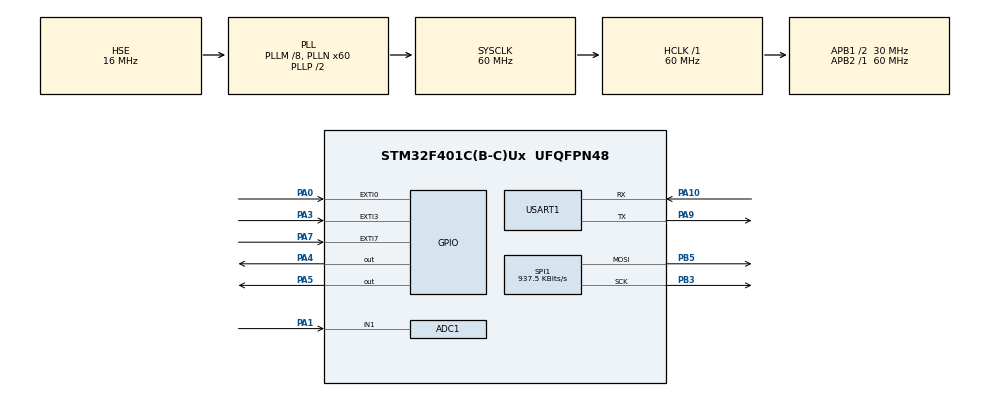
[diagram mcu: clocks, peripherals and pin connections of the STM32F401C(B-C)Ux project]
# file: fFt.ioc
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ADC1.Channel-3\#ChannelRegularConversion=ADC_CHANNEL_1
ADC1.ContinuousConvMode=DISABLE
ADC1.DMAContinuousRequests=ENABLE
ADC1.ExternalTrigConv=ADC_EXTERNALTRIGCONV_T2_TRGO
ADC1.ExternalTrigConvEdge=ADC_EXTERNALTRIGCONVEDGE_RISING
ADC1.NbrOfConversion=1
ADC1.NbrOfConversionFlag=1
ADC1.Rank-3\#ChannelRegularConversion=1
ADC1.SamplingTime-3\#ChannelRegularConversion=ADC_SAMPLETIME_3CYCLES
ADC1.master=1
Dma.ADC1.0.Direction=DMA_PERIPH_TO_MEMORY
Dma.ADC1.0.FIFOMode=DMA_FIFOMODE_DISABLE
Dma.ADC1.0.Instance=DMA2_Stream0
Dma.ADC1.0.MemDataAlignment=DMA_MDATAALIGN_HALFWORD
Dma.ADC1.0.MemInc=DMA_MINC_ENABLE
Dma.ADC1.0.Mode=DMA_CIRCULAR
Dma.ADC1.0.PeriphDataAlignment=DMA_PDATAALIGN_HALFWORD
Dma.ADC1.0.PeriphInc=DMA_PINC_DISABLE
Dma.ADC1.0.Priority=DMA_PRIORITY_VERY_HIGH
Dma.Request0=ADC1
Mcu.Family=STM32F4
Mcu.Name=STM32F401C(B-C)Ux
Mcu.Package=UFQFPN48
NVIC.DMA2_Stream0_IRQn=true\:1\:0\:true\:false\:true\:false\:true
NVIC.EXTI0_IRQn=true\:1\:0\:true\:false\:true\:true\:true
NVIC.EXTI3_IRQn=true\:1\:0\:true\:false\:true\:true\:true
NVIC.EXTI9_5_IRQn=true\:1\:0\:true\:false\:true\:true\:true
NVIC.FPU_IRQn=true\:1\:0\:true\:false\:true\:true\:false
NVIC.PriorityGroup=NVIC_PRIORITYGROUP_4
NVIC.USART1_IRQn=true\:1\:0\:true\:false\:true\:true\:true
PA0-WKUP.GPIO_ModeDefaultEXTI=GPIO_MODE_IT_FALLING
PA0-WKUP.GPIO_PuPd=GPIO_PULLUP
PA0-WKUP.Signal=GPXTI0
PA1.Signal=ADCx_IN1
PA10.Mode=Asynchronous
PA10.Signal=USART1_RX
PA13.Mode=Serial_Wire
PA13.Signal=SYS_JTMS-SWDIO
PA14.Mode=Serial_Wire
PA14.Signal=SYS_JTCK-SWCLK
PA3.GPIO_ModeDefaultEXTI=GPIO_MODE_IT_FALLING
PA3.GPIO_PuPd=GPIO_PULLUP
PA3.Signal=GPXTI3
PA4.PinState=GPIO_PIN_SET
PA4.Signal=GPIO_Output
PA5.PinState=GPIO_PIN_SET
PA5.Signal=GPIO_Output
PA7.GPIO_ModeDefaultEXTI=GPIO_MODE_IT_FALLING
PA7.GPIO_PuPd=GPIO_PULLUP
PA7.Signal=GPXTI7
PA9.Mode=Asynchronous
PA9.Signal=USART1_TX
PB3.Mode=TX_Only_Simplex_Unidirect_Master
PB3.Signal=SPI1_SCK
PB4.Signal=SPI1_MISO
PB5.Mode=TX_Only_Simplex_Unidirect_Master
PB5.Signal=SPI1_MOSI
PH0\ -\ OSC_IN.Mode=HSE-External-Oscillator
PH0\ -\ OSC_IN.Signal=RCC_OSC_IN
PH1\ -\ OSC_OUT.Mode=HSE-External-Oscillator
PH1\ -\ OSC_OUT.Signal=RCC_OSC_OUT
ProjectManager.HeapSize=0x200
ProjectManager.StackSize=0x400
ProjectManager.TargetToolchain=MDK-ARM V5
RCC.48MHZClocksFreq_Value=30000000
RCC.AHBFreq_Value=60000000
RCC.APB1CLKDivider=RCC_HCLK_DIV2
RCC.APB1Freq_Value=30000000
RCC.APB1TimFreq_Value=60000000
RCC.APB2Freq_Value=60000000
RCC.APB2TimFreq_Value=60000000
RCC.CortexFreq_Value=60000000
RCC.HCLKFreq_Value=60000000
RCC.HSE_VALUE=16000000
RCC.HSI_VALUE=16000000
RCC.LSE_VALUE=32768
RCC.PLLM=8
RCC.PLLN=60
RCC.PLLSourceVirtual=RCC_PLLSOURCE_HSE
RCC.SYSCLKFreq_VALUE=60000000
RCC.SYSCLKSource=RCC_SYSCLKSOURCE_PLLCLK
RCC.VCOOutputFreq_Value=120000000
SH.ADCx_IN1.0=ADC1_IN1,IN1
SPI1.BaudRatePrescaler=SPI_BAUDRATEPRESCALER_64
SPI1.CLKPhase=SPI_PHASE_2EDGE
SPI1.CLKPolarity=SPI_POLARITY_HIGH
SPI1.CalculateBaudRate=937.5 KBits/s
SPI1.Direction=SPI_DIRECTION_2LINES
SPI1.Mode=SPI_MODE_MASTER
SPI1.VirtualType=VM_MASTER
TIM2.AutoReloadPreload=TIM_AUTORELOAD_PRELOAD_ENABLE
TIM2.Period=30
TIM2.Prescaler=2
TIM2.TIM_MasterOutputTrigger=TIM_TRGO_UPDATE
USART1.VirtualMode=VM_ASYNC
VP_TIM2_VS_ClockSourceINT.Mode=Internal
board=custom

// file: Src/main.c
/* USER CODE BEGIN Header */
/**
 ******************************************************************************
 * @file           : main.c
 * @brief          : Main program body
 ******************************************************************************
 * @attention
 *
 * <h2><center>&copy; Copyright (c) 2022 STMicroelectronics.
 * All rights reserved.</center></h2>
 *
 * This software component is licensed by ST under BSD 3-Clause license,
 * the "License"; You may not use this file except in compliance with the
 * License. You may obtain a copy of the License at:
 *                        opensource.org/licenses/BSD-3-Clause
 *
 ******************************************************************************
 */
/* USER CODE END Header */

#include "main.h"

#include "adc.h"
#include "dma.h"
#include "gpio.h"
#include "spi.h"
#include "tim.h"
#include "usart.h"

/* USER CODE BEGIN Includes */
#include "../drivers/ssd1306/oled.h"
#include "arm_const_structs.h"
#include "arm_math.h"
#include "stdio.h"
/* USER CODE END Includes */

/* USER CODE BEGIN PD */
#define FFT_LENGTH 4096
/* USER CODE END PD */

/* USER CODE BEGIN PV */
__IO uint8_t AdcConvEnd = 0;
uint16_t adcBuff[FFT_LENGTH];
uint8_t display_mode = 0;
float fft_inputbuf[FFT_LENGTH * 2];
float fft_outputbuf[FFT_LENGTH];
float votage, JIPING;
static uint8_t harmonic = 1;
/* USER CODE END PV */

void SystemClock_Config(void);

int main(void) {

  /* MCU Configuration--------------------------------------------------------*/

  /* Reset of all peripherals, Initializes the Flash interface and the Systick. */
  HAL_Init();

  /* Configure the system clock */
  SystemClock_Config();

  /* Initialize all configured peripherals */
  MX_GPIO_Init();
  MX_DMA_Init();
  MX_ADC1_Init();
  MX_USART1_UART_Init();
  MX_SPI1_Init();
  MX_TIM2_Init();
  /* USER CODE BEGIN 2 */

  /************Adc************************/
  OLED_Init();
  Gram_clear();
  OLED_Refresh_Gram();
  htim2.Init.Period = 30000000 / 5000;
  HAL_TIM_Base_Init(&htim2);
  HAL_TIM_Base_Start(&htim2);
  HAL_ADC_Start_DMA(&hadc1, (uint32_t *)adcBuff, FFT_LENGTH);
  // HAL_ADC_Stop_DMA(&hadc1);
  // OLED_ShowStr(0, 0, "hello world", 2);//显示字符
  //	HAL_ADC_Start_DMA(&hadc1, (uint32_t *)adcBuff, FFT_LENGTH);

  /* USER CODE END 2 */

  /* Infinite loop */
  while (1) {

  }
}

void SystemClock_Config(void) {
  RCC_OscInitTypeDef RCC_OscInitStruct = {0};
  RCC_ClkInitTypeDef RCC_ClkInitStruct = {0};

  /** Configure the main internal regulator output voltage
   */
  __HAL_RCC_PWR_CLK_ENABLE();
  __HAL_PWR_VOLTAGESCALING_CONFIG(PWR_REGULATOR_VOLTAGE_SCALE2);
  /** Initializes the CPU, AHB and APB busses clocks
   */
  RCC_OscInitStruct.OscillatorType = RCC_OSCILLATORTYPE_HSE;
  RCC_OscInitStruct.HSEState = RCC_HSE_ON;
  RCC_OscInitStruct.PLL.PLLState = RCC_PLL_ON;
  RCC_OscInitStruct.PLL.PLLSource = RCC_PLLSOURCE_HSE;
  RCC_OscInitStruct.PLL.PLLM = 8;
  RCC_OscInitStruct.PLL.PLLN = 60;
  RCC_OscInitStruct.PLL.PLLP = RCC_PLLP_DIV2;
  RCC_OscInitStruct.PLL.PLLQ = 4;
  if (HAL_RCC_OscConfig(&RCC_OscInitStruct) != HAL_OK) {
    Error_Handler();
  }
  /** Initializes the CPU, AHB and APB busses clocks
   */
  RCC_ClkInitStruct.ClockType = RCC_CLOCKTYPE_HCLK | RCC_CLOCKTYPE_SYSCLK | RCC_CLOCKTYPE_PCLK1 | RCC_CLOCKTYPE_PCLK2;
  RCC_ClkInitStruct.SYSCLKSource = RCC_SYSCLKSOURCE_PLLCLK;
  RCC_ClkInitStruct.AHBCLKDivider = RCC_SYSCLK_DIV1;
  RCC_ClkInitStruct.APB1CLKDivider = RCC_HCLK_DIV2;
  RCC_ClkInitStruct.APB2CLKDivider = RCC_HCLK_DIV1;

  if (HAL_RCC_ClockConfig(&RCC_ClkInitStruct, FLASH_LATENCY_1) != HAL_OK) {
    Error_Handler();
  }
}

/* USER CODE BEGIN 4 */
int fputc(int ch, FILE *f) {
  HAL_UART_Transmit(&huart1, ((uint8_t *)&ch), 1, 2);
  return ch;
}
void display() {
  if (display_mode == 0) {
    gui_draw_axis();
    for (uint8_t i = 0; i <= 127; i++) {
      OLED_DrawPoint(i, 64 - (int)(adcBuff[i * (FFT_LENGTH / 128)] * 3.3 / 4096 / 3.3 * 64), 1);  //显示前面的采集忼，形成曲�???                                                                                                  // printf("%d\n",(int)(adcBuff[i *(FFT_LENGTH/128)]*3.3/4096/3.3*64));
    }
    OLED_Refresh_Gram();  //更新显存
    Gram_clear();         //将OLED_GRAM数组清空，下次再赋忼（清空但不影响显示＿
  }
  if (display_mode == 1) {
    float votage[20] = {0};
    float frequence[20] = {0};
    uint16_t votage_index=0, last_index = 0;
    OLED_CLS();
    unsigned char display_str[15];
    sprintf((char *)display_str, "MAX HZ:%dk", (int)(15000 / 1.5 / htim2.Init.Period));  // adc??????????
    OLED_ShowStr(0, 0, display_str, 2);
    for (uint16_t i = 0; i < FFT_LENGTH / 2; i++) {  //??????
      if (fft_outputbuf[i] > 0.1 && votage_index <= 9) {
        if (votage_index!=0&&(float)i * 20000000 / htim2.Init.Period / FFT_LENGTH-frequence[votage_index-1]< frequence[votage_index-1]/2) {//0.2倍分辨率归一
          if (fft_outputbuf[i] > votage[votage_index-1]) {  //相近的频率取幅值最大的
            votage[votage_index-1] = fft_outputbuf[i];
            frequence[votage_index-1] = (float)i * 20000000 / htim2.Init.Period / FFT_LENGTH;
          }
        } else {
          votage[votage_index] = fft_outputbuf[i];
          frequence[votage_index] = (float)i * 20000000 / htim2.Init.Period / FFT_LENGTH;
          votage_index++;
        }

        // printf("%d:\t%.2f\r\n", i, fft_outputbuf[i]);
        // printf("%fhz:\t%.2f\r\n",(float)(i * 30000000 / 1.5 / htim2.Init.Period / FFT_LENGTH); //adc??
      }
    }
    //	for(uint8_t i=50;i<80;i++){
    //	printf("%fhz:\t%.2f\r\n",(float)i*30000000/1.5/htim2.Init.Period/FFT_LENGTH, fft_outputbuf[i]);
    //	}
    unsigned char display_str1[15];
    unsigned char display_str2[15];
    switch (harmonic) {
      case 1:
        sprintf((char *)&display_str1, "V:%.2f", votage[0] * 2);  //?????*2
                                                                  // printf("%.2f\n", votage[0]);
        sprintf((char *)&display_str2, "F:%.2f", frequence[0]);
        OLED_ShowStr(0, 2, display_str1, 2);
        OLED_ShowStr(0, 4, display_str2, 2);
        OLED_ShowStr(0, 6, "First", 2);
        break;
      case 2:
        sprintf((char *)&display_str1, "V:%.2f", votage[1] * 2);  //??????*2
        sprintf((char *)&display_str2, "F:%.2f", frequence[1]);
        OLED_ShowStr(0, 2, display_str1, 2);
        OLED_ShowStr(0, 4, display_str2, 2);
        OLED_ShowStr(0, 6, "Second", 2);
        break;
      case 3:
        sprintf((char *)&display_str1, "V:%.2f", votage[2] * 2);  //??????*2
        sprintf((char *)&display_str2, "F:%.2f", frequence[2]);
        OLED_ShowStr(0, 2, display_str1, 2);
        OLED_ShowStr(0, 4, display_str2, 2);
        OLED_ShowStr(0, 6, "Three", 2);
        break;
      case 4:
        sprintf((char *)&display_str1, "V:%.2f", votage[3] * 2);  //??????*2
        sprintf((char *)&display_str2, "F:%.2f", frequence[3]);
        OLED_ShowStr(0, 2, display_str1, 2);
        OLED_ShowStr(0, 4, display_str2, 2);
        OLED_ShowStr(0, 6, "Four", 2);
        break;
      case 5:
        sprintf((char *)&display_str1, "V:%.2f", votage[4] * 2);  //??????*2
        sprintf((char *)&display_str2, "F:%.2f", frequence[4]);
        OLED_ShowStr(0, 2, display_str1, 2);
        OLED_ShowStr(0, 4, display_str2, 2);
        OLED_ShowStr(0, 6, "Five", 2);
        break;
      case 6:
        sprintf((char *)&display_str1, "V:%.2f", votage[5] * 2);  //??????*2
        sprintf((char *)&display_str2, "F:%.2f", frequence[5]);
        OLED_ShowStr(0, 2, display_str1, 2);
        OLED_ShowStr(0, 4, display_str2, 2);
        OLED_ShowStr(0, 6, "Six", 2);
        break;
      case 7:
        sprintf((char *)&display_str1, "V:%.2f", votage[6] * 2);  //??????*2
        sprintf((char *)&display_str2, "F:%.2f", frequence[6]);
        OLED_ShowStr(0, 2, display_str1, 2);
        OLED_ShowStr(0, 4, display_str2, 2);
        OLED_ShowStr(0, 6, "Seven", 2);
        break;
      case 8:
        sprintf((char *)&display_str1, "V:%.2f", votage[7] * 2);  //??????*2
        sprintf((char *)&display_str2, "F:%.2f", frequence[7]);
        OLED_ShowStr(0, 2, display_str1, 2);
        OLED_ShowStr(0, 4, display_str2, 2);
        OLED_ShowStr(0, 6, "Eight", 2);
        break;
      case 9:
        sprintf((char *)&display_str1, "V:%.2f", votage[8] * 2);  //??????*2
        sprintf((char *)&display_str2, "F:%.2f", frequence[8]);
        OLED_ShowStr(0, 2, display_str1, 2);
        OLED_ShowStr(0, 4, display_str2, 2);
        OLED_ShowStr(0, 6, "Nine", 2);
        break;
      case 10:
        sprintf((char *)&display_str1, "V:%.2f", votage[9] * 2);  //??????*2
        sprintf((char *)&display_str2, "F:%.2f", frequence[9]);
        OLED_ShowStr(0, 2, display_str1, 2);
        OLED_ShowStr(0, 4, display_str2, 2);
        OLED_ShowStr(0, 6, "Ten", 2);
        break;
      default:
        break;
    }
  }
  if (display_mode == 2) {
    uint8_t index = 0;
    for (uint16_t i = 0; i < FFT_LENGTH / 2; i++) {
      if (fft_outputbuf[i] > 0.1 && index <= 127 - 12) {
        gui_draw_vline(index, 63 - (int)(fft_outputbuf[i] / 3.3 * 64), 63);
        index += 12;
      }
    }
    OLED_Refresh_Gram();  //更新显存
    Gram_clear();         //将OLED_GRAM数组清空，下次再赋忼（清空但不影响显示＿
  }
  // if (display_mode == 1) {
  //   OLED_CLS();
  //   unsigned char display_str[15];
  //   sprintf((char *)display_str, "MAX HZ:%dk", 15000 / htim2.Init.Period);  // adc扫描频率的一�?
  //   OLED_ShowStr(0, 0, display_str, 2);
  //   for (int i = 0; i < FFT_LENGTH; i++) {  //输出各次谐波
  //     float temp = 0;
  //     temp = fft_outputbuf[i];
  //     if (temp > votage) {
  //       votage = temp;
  //       JIPING = (float)i * 30000000 / htim2.Init.Period / FFT_LENGTH;
  //     }
  //     if ((int)JIPING * 5 / 3000000 * htim2.Init.Period * FFT_LENGTH * 2 >= FFT_LENGTH) {
  //       harmonic = 1;
  //       OLED_ShowStr(0, 6, "error", 2);
  //     }
  //     //printf("%d:\t%.2f\r\n", i, fft_outputbuf[i]);
  //     //printf("%fhz:\t%.2f\r\n",(float)i*30000000/htim2.Init.Period/FFT_LENGTH, fft_outputbuf[i]); //adc频率
  //   }
  //   unsigned char display_str1[15];
  //   unsigned char display_str2[15];
  //   switch (harmonic) {
  //     case 1:
  //       sprintf((char *)&display_str1, "V:%.2f", votage * 2);  //峰峰�?*2
  //       printf("%.2f\n", votage);
  //       sprintf((char *)&display_str2, "F:%.2f", JIPING);
  //       votage = 0;  //清除变量
  //       OLED_ShowStr(0, 2, display_str1, 2);
  //       OLED_ShowStr(0, 4, display_str2, 2);
  //       OLED_ShowStr(0, 6, "First", 2);
  //       break;
  //     case 2:
  //       sprintf((char *)&display_str1, "V:%.2f", fft_outputbuf[(int)JIPING * 2 / 3000000 * htim2.Init.Period * FFT_LENGTH] * 2);  //峰峰�?*2
  //       sprintf((char *)&display_str2, "F:%.2f", JIPING);
  //       votage = 0;  //清除变量
  //       OLED_ShowStr(0, 2, display_str1, 2);
  //       OLED_ShowStr(0, 4, display_str2, 2);
  //       OLED_ShowStr(0, 6, "Second", 2);
  //       break;
  //     case 3:
  //       sprintf((char *)&display_str1, "V:%.2f", fft_outputbuf[(int)JIPING * 3 / 3000000 * htim2.Init.Period * FFT_LENGTH] * 2);  //峰峰�?*2
  //       sprintf((char *)&display_str2, "F:%.2f", JIPING * 3);
  //       votage = 0;  //清除变量
  //       OLED_ShowStr(0, 2, display_str1, 2);
  //       OLED_ShowStr(0, 4, display_str2, 2);
  //       OLED_ShowStr(0, 6, "Three", 2);
  //       break;
  //     case 4:
  //       sprintf((char *)&display_str1, "V:%.2f", fft_outputbuf[(int)JIPING * 4 / 3000000 * htim2.Init.Period * FFT_LENGTH] * 2);  //峰峰�?*2
  //       sprintf((char *)&display_str2, "F:%.2f", JIPING * 4);
  //       votage = 0;  //清除变量
  //       OLED_ShowStr(0, 2, display_str1, 2);
  //       OLED_ShowStr(0, 4, display_str2, 2);
  //       OLED_ShowStr(0, 6, "Four", 2);
  // 			break;
  //     case 5:
  //       sprintf((char *)&display_str1, "V:%.2f", fft_outputbuf[(int)JIPING * 5 / 3000000 * htim2.Init.Period * FFT_LENGTH] * 2);  //峰峰�?*2
  //       sprintf((char *)&display_str2, "F:%.2f", JIPING * 5);
  //       votage = 0;  //清除变量
  //       OLED_ShowStr(0, 2, display_str1, 2);
  //       OLED_ShowStr(0, 4, display_str2, 2);
  //       OLED_ShowStr(0, 6, "Five", 2);
  //       break;
  //     default:
  //       break;
  //   }
  // }
  // 	if(display_mode==2){
  // 		float temp[128];
  // 		//gui_draw_axis();
  // 		for(uint8_t i=0;i<=127;i++)
  // 		{
  // 			for (int j = 0; j < FFT_LENGTH/128; j++)//输出各次谐波
  // 			{
  // 				 temp[i]=temp[i]+fft_outputbuf[i*FFT_LENGTH/128+j]; //归一化每32合一
  // 			}
  // 			temp[i]=temp[i]/32;
  // 			gui_draw_vline(i,127-(int)temp[i]/3.3*64,127);
  // 			printf("原始%.2f计算%d\n",temp[0],(int)((float)temp[0]*64/3.3));
  // 		}
  // 		OLED_Refresh_Gram();                   //更新显存
  // 		Gram_clear();                          //将OLED_GRAM数组清空，下次再赋忼（清空但不影响显示＿

  // }
  // if (display_mode == 2) {
  //   // gui_draw_axis();
  //   for (uint8_t i = 0; i <= 127; i++) {
  //     gui_draw_vline(i, 63 - (int)(fft_outputbuf[i * 32] / 3.3 * 64), 63);
  //     // printf("0:%.2f计算%d\n",fft_outputbuf[0],(int)(fft_outputbuf[0]/3.3*64));
  //   }
  //   OLED_Refresh_Gram();  //更新显存
  //   Gram_clear();         //将OLED_GRAM数组清空，下次再赋忼（清空但不影响显示＿
  // }
}
void HAL_ADC_ConvCpltCallback(ADC_HandleTypeDef *hadc) {
  // HAL_ADC_Stop_DMA(&hadc1);
  for (int i = 0; i < FFT_LENGTH; i++) {
    fft_inputbuf[i * 2] = adcBuff[i] * 3.3 / 4096 - 1.65;  //实部3.3 / 4096是为了将ADC采集到的值转换成实际电压 后面加窗hamming*0.54-0.46*cos(2*3.14159*i/(FFT_LENGTH-1)))
    fft_inputbuf[i * 2 + 1] = 0;                           //虚部赋，固定0.
  }
  arm_cfft_f32(&arm_cfft_sR_f32_len4096, fft_inputbuf, 0, 1);
  arm_cmplx_mag_f32(fft_inputbuf, fft_outputbuf, FFT_LENGTH);
  fft_outputbuf[0] /= FFT_LENGTH;
  for (int i = 1; i < FFT_LENGTH; i++)  //输出各次谐波�???
  {
    fft_outputbuf[i] /= FFT_LENGTH / 2;
  }
  // printf("FFT Result:\r\n");
  display();
  // HAL_ADC_Start_DMA(&hadc1, (uint32_t *)adcBuff, FFT_LENGTH);
}

void HAL_GPIO_EXTI_Callback(uint16_t GPIO_Pin) {
  uint32_t ADCTIME_ARRY[] = {30000000 / 5000, 30000000 / 10000, 30000000 / 100000, 30000000 / 1000000, 15};
  // 5k          10k            100k            1000k            2000k
  static uint8_t i = 0;
  HAL_Delay(5);
  // printf("延时结束\n");
  switch (GPIO_Pin) {  //左按�???
    case GPIO_PIN_0:
      //左按�??
      if (0 == HAL_GPIO_ReadPin(GPIOA, GPIO_PIN_0)) {
        i++;
        if (i >= 5) i = 0;
        htim2.Init.Period = ADCTIME_ARRY[i];
        printf("ADCTIME:%d\r", ADCTIME_ARRY[i]);
        HAL_TIM_Base_Init(&htim2);
        HAL_TIM_Base_Start(&htim2);
      }
      break;
    case GPIO_PIN_3:
      if (0 == HAL_GPIO_ReadPin(GPIOA, GPIO_PIN_3)) {
        //   i--;
        //   if (i <= 0 || i >= 5) i = 0;
        //   htim2.Init.Period = ADCTIME_ARRY[i];
        //   printf("ADCTIME:%d\r", ADCTIME_ARRY[i]);
        //   HAL_TIM_Base_Init(&htim2);
        //   HAL_TIM_Base_Start(&htim2);

        harmonic++;
        if (harmonic <= 0 || harmonic >= 10) harmonic = 1;
        printf("谐波:%d", harmonic);
      }
      break;
    case GPIO_PIN_7:
      if (0 == HAL_GPIO_ReadPin(GPIOA, GPIO_PIN_7)) {
        display_mode++;
        if (display_mode >= 3) display_mode = 0;
        printf("模式�?%d\n", display_mode);
        display();
      }
      break;
    default:
      break;
  }
  // HAL_Delay(50);
  __HAL_GPIO_EXTI_CLEAR_IT(GPIO_Pin);
}
/* USER CODE END 4 */

void Error_Handler(void) {
}

/************************ (C) COPYRIGHT STMicroelectronics *****END OF FILE****/
